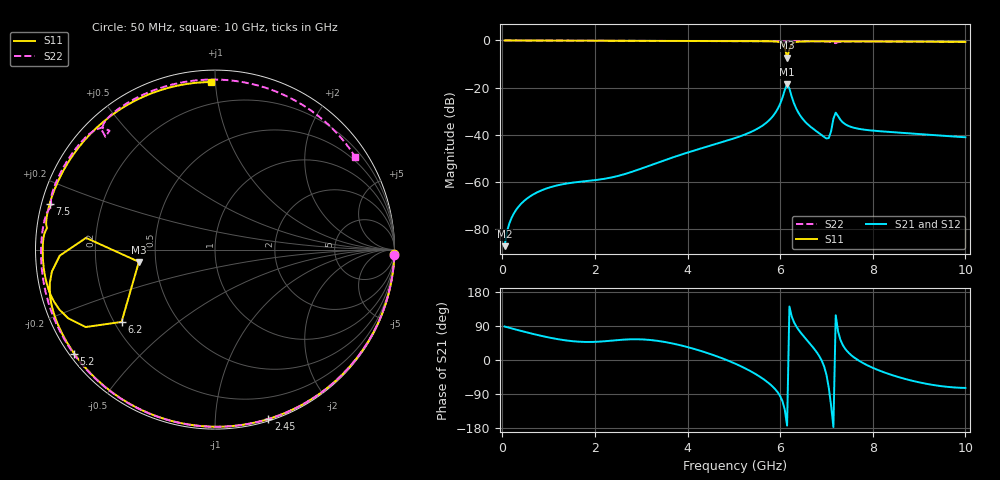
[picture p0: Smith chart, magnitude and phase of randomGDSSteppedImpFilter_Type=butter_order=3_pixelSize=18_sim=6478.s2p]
! freq	dB(S11)	phase(S11)	dB(S12)	phase(S12)
!  dB(S21)	phase(S21)	dB(S22)	phase(S22)
!S-par simulation data
#  GHz  S  DB  R 50
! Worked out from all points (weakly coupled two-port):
!   200 points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, 50 MHz to 10 GHz, reference 50 ohm
!   highest |S21| = -18.56 dB at 6.15 GHz (marker M1); lowest = -87.2 dB at 50 MHz (marker M2)
!   lowest |S11| = -7.3 dB at 6.15 GHz (marker M3), VSWR 2.51, Z = 20.1 - j3.35 ohm
!   |S11| at or under -10 dB: nowhere
!   |S22| runs from -1.1 to 0.0 dB; largest |S21 - S12| = 0
!   S11 on the Smith chart (normalised r, x): 50 MHz: 0, -73; 2.45 GHz: 0.01, -1.36; 5.2 GHz: 0.01, -0.33; 6.2 GHz: 0.23, -0.33; 7.5 GHz: 0.02, +0.13; 10 GHz: 0.07, +0.97
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0.05  -0.00 -1.6  -87.24 88.4  -87.24 88.4  -0.00 -1.8
0.35  -0.02 -10.8  -70.50 78.5  -70.50 78.5  -0.02 -12.4
0.65  -0.03 -20.0  -65.50 69.2  -65.50 69.2  -0.03 -22.9
1.75  -0.07 -52.8  -59.77 47.7  -59.77 47.7  -0.08 -60.5
2.45  -0.09 -72.5  -57.70 52.1  -57.70 52.1  -0.10 -83.2
3.4  -0.12 -98.0  -51.52 49.7  -51.52 49.7  -0.14 -112.6
5.05  -0.21 -139.7  -41.23 -10.7  -41.23 -10.7  -0.23 -161.6
5.2  -0.22 -143.5  -40.18 -19.3  -40.18 -19.3  -0.24 -166.0
5.7  -0.30 -157.7  -34.92 -55.9  -34.92 -55.9  -0.28 178.9
6  -0.75 -172.4  -26.87 -95.2  -26.87 -95.2  -0.33 169.4
6.1  -2.84 174.8  -20.99 -131.3  -20.99 -131.3  -0.45 166.0
6.15  -7.34 -170.9  -18.56 -173.1  -18.56 -173.1  -0.58 165.2
6.2  -3.63 -142.3  -20.40 141.1  -20.40 141.1  -0.49 164.7
6.25  -1.51 -149.1  -23.84 114.8  -23.84 114.8  -0.39 163.1
6.35  -0.63 -159.0  -29.00 88.3  -29.00 88.3  -0.35 159.6
6.7  -0.36 -173.6  -37.29 34.8  -37.29 34.8  -0.36 148.0
7.05  -0.37 176.1  -41.37 -73.0  -41.37 -73.0  -0.50 135.2
7.2  -0.50 172.7  -30.64 118.1  -30.64 118.1  -1.14 134.2
7.5  -0.39 164.7  -36.46 16.5  -36.46 16.5  -0.43 123.3
8.35  -0.46 141.5  -38.78 -37.1  -38.78 -37.1  -0.46 93.2
9.15  -0.52 118.3  -39.89 -62.6  -39.89 -62.6  -0.51 64.3
10  -0.59 91.5  -41.05 -73.7  -41.05 -73.7  -0.57 33.6
